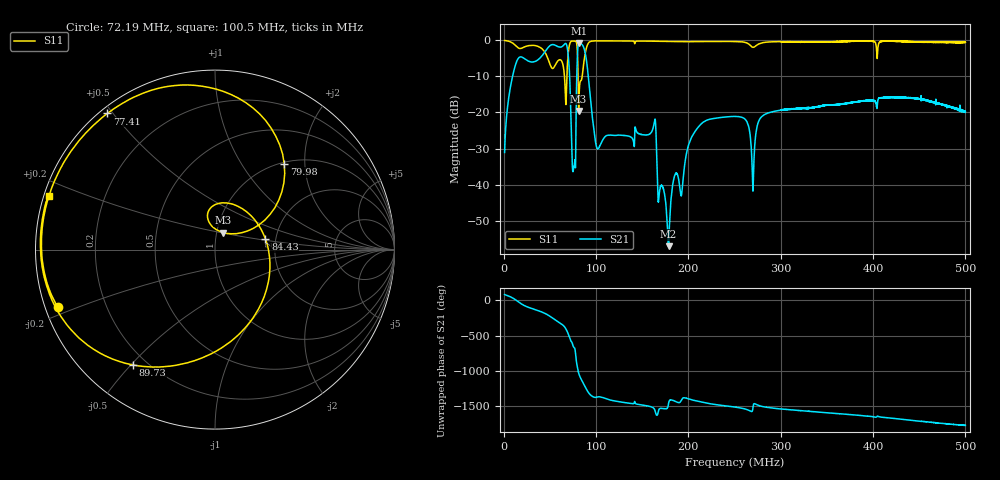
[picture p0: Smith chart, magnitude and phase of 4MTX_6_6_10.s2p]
! NanoVNA-App
! Date: 2026-08-18 22:13:42
! Start: 1MHz Stop: 500MHz Points: 6401
! S-Parameter data: F S11 S21 S12 S22
# Hz S RI R 50
!  Frequency  S11_Real  S11_Imag  S21_Real  S21_Imag  S12_Real  S12_Imag  S22_Real  S22_Imag
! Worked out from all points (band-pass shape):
!   6401 points, 1 MHz to 500 MHz, reference 50 ohm
!   highest |S21| = -0.84 dB at 81.39 MHz (marker M1); lowest = -57.0 dB at 178.5 MHz (marker M2)
!   |S21| within 3 dB of the highest: 43.01 MHz to 69.72 MHz (26.71 MHz wide, 47.4 % of centre); 79.94 MHz to 88.51 MHz (8.568 MHz wide, 10.2 % of centre)
!   lowest |S11| = -19.6 dB at 81.15 MHz (marker M3), VSWR 1.23, Z = 53.5 + j10.3 ohm
!   |S11| at or under -10 dB: 65.81 MHz to 68.44 MHz (2.635 MHz wide, 3.93 % of centre); 80.54 MHz to 85.01 MHz (4.475 MHz wide, 5.41 % of centre)
!   S12 and S22 are empty: the file has one direction only
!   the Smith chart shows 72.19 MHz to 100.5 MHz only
!   S11 on the Smith chart (normalised r, x): 72.19 MHz: 0.04, -0.18; 77.41 MHz: 0.02, +0.48; 79.98 MHz: 1.03, +1.58; 84.43 MHz: 1.76, +0.23; 89.73 MHz: 0.15, -0.51; 100.5 MHz: 0.01, +0.16
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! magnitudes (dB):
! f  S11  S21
! 1 MHz  -0.1  -31.1
! 17.45 MHz  -2.3  -4.7
! 66.73 MHz  -14.4  -0.9
! 72.19 MHz  -0.6  -15.6
! 75.46 MHz  -0.2  -35.8
! 77.41 MHz  -0.3  -34.0
! 79.98 MHz  -4.2  -3.6
! 81.15 MHz  -19.6  -0.9
! 81.39 MHz  -18.2  -0.8
! 84.19 MHz  -11.0  -1.1
! 84.43 MHz  -10.8  -1.1
! 89.73 MHz  -2.1  -5.8
! 100.5 MHz  -0.2  -29.5
! 162.5 MHz  -0.3  -23.6
! 167.4 MHz  -0.3  -44.7
! 178.5 MHz  -0.3  -57.0
! 206 MHz  -0.4  -25.8
! 250.5 MHz  -0.4  -21.1
! 269.9 MHz  -2.0  -41.8
! 333.7 MHz  -0.5  -18.7
! 416.9 MHz  -0.2  -15.8
! 500 MHz  -0.6  -19.8
